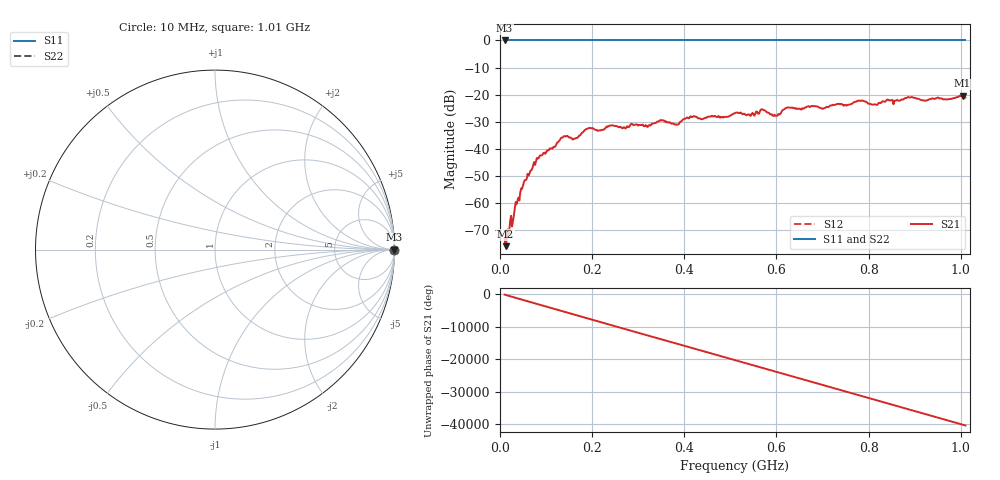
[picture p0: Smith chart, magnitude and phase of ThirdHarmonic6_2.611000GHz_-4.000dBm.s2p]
! 8/17/2025 5:42:52 AM
! C:\ANRITSUVNA\TEMP\TEMP.S2P
! CHANNEL.1
! TR.MEASUREMENT
! RAW.DATA
! RF.CORRECTION.OFF
! AVERAGING.OFF
! IF.BANDWIDTH: 5KHZ
! SWEEPTYPE:  FREQ.SWEEP(Linear)
! Reference Plane Port Info
! PORT:  PORT1  PORT2
! DISTANCE:  0  m  0  m
! TIME:  0  s  0  s
! PHASE.OFFSET:  0  deg.  0  deg.
! LOSS:  0  dB  0  dB
! REF.LOSS:  0  dB  0  dB
! REF.FREQ:  0  Hz  0  Hz
! Power Info
! POWER:  -20  dBm  -20  dBm
! EFF.POWER:  -20  dBm  -20  dBm
! SOURCE.ATTEN:  0  dB  0  dB
! TEST.ATTEN:  0  dB  0  dB
# GHZ S RI R 50.0
! FREQ.GHZ  S11RE  S11IM  S21RE  S21IM  S12RE  S12IM  S22RE  S22IM
!; PortSelection: Port_12
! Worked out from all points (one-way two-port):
!   501 points, 10 MHz to 1.01 GHz, reference 50 ohm
!   highest |S21| = -20.35 dB at 1.004 GHz (marker M1); lowest = -75.8 dB at 12 MHz (marker M2)
!   lowest |S11| = 0.0 dB at 10 MHz (marker M3)
!   |S11| at or under -10 dB: nowhere
!   |S22| runs from 0.0 to 0.0 dB; largest |S21 - S12| = 1.1
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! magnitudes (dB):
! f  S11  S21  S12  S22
! 10 MHz  0.0  -73.0  0.0  0.0
! 12 MHz  0.0  -75.8  0.0  0.0
! 16 MHz  0.0  -69.6  0.0  0.0
! 20 MHz  0.0  -70.4  0.0  0.0
! 50 MHz  0.0  -53.5  0.0  0.0
! 84 MHz  0.0  -43.3  0.0  0.0
! 136 MHz  0.0  -35.8  0.0  0.0
! 162 MHz  0.0  -36.2  0.0  0.0
! 178 MHz  0.0  -34.0  0.0  0.0
! 194 MHz  0.0  -32.2  0.0  0.0
! 322 MHz  0.0  -31.5  0.0  0.0
! 344 MHz  0.0  -29.9  0.0  0.0
! 384 MHz  0.0  -31.0  0.0  0.0
! 418 MHz  0.0  -28.2  0.0  0.0
! 510 MHz  0.0  -26.8  0.0  0.0
! 570 MHz  0.0  -25.4  0.0  0.0
! 598 MHz  0.0  -27.8  0.0  0.0
! 624 MHz  0.0  -24.7  0.0  0.0
! 678 MHz  0.0  -24.2  0.0  0.0
! 844 MHz  0.0  -22.0  0.0  0.0
! 1.004 GHz  0.0  -20.3  0.0  0.0
! 1.01 GHz  0.0  -21.1  0.0  0.0
